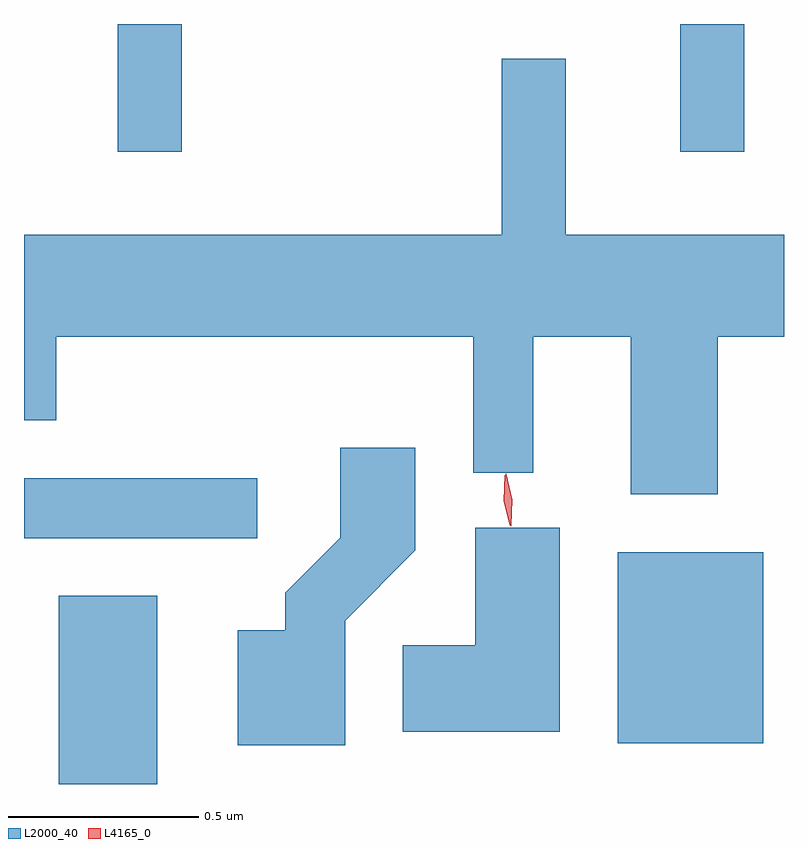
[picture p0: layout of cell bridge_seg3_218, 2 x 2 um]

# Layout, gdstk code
import gdstk
lib = gdstk.Library(unit=1e-6, precision=1e-09)
def R(c, l, rs):  # rectangles x0, y0, x1, y1
    for r in rs: c.add(gdstk.rectangle(r[:2], r[2:], *l))
def P(c, l, *ps):  # polygons
    for p in ps: c.add(gdstk.Polygon(p, *l))
L2000_40 = (2000, 40)
L4165_0 = (4165, 0)

bridge_seg3_218 = lib.new_cell('bridge_seg3_218')
R(bridge_seg3_218, L2000_40, [(955.296,1155.919,955.554,1156.414), (956.766,1156.026,957.149,1156.529), (955.204,1156.566,955.818,1156.724), (955.451,1157.583,955.619,1157.919), (956.931,1157.583,957.099,1157.919)])
P(bridge_seg3_218, L2000_40, [(957.029,1157.096),(957.204,1157.096),(957.204,1157.364),(956.629,1157.364),(956.629,1157.828),(956.461,1157.828),(956.461,1157.364),(955.204,1157.364),(955.204,1156.876),(955.289,1156.876),(955.289,1157.096),(956.386,1157.096),(956.386,1156.738),(956.544,1156.738),(956.544,1157.096),(956.801,1157.096),(956.801,1156.681),(957.029,1156.681)],
  [(956.049,1156.349),(956.234,1156.534),(956.234,1156.804),(956.036,1156.804),(956.036,1156.567),(955.891,1156.422),(955.891,1156.324),(955.766,1156.324),(955.766,1156.021),(956.049,1156.021)],
  [(956.614,1156.594),(956.391,1156.594),(956.391,1156.284),(956.201,1156.284),(956.201,1156.056),(956.614,1156.056)])
P(bridge_seg3_218, L4165_0, [(956.482,1156.6),(956.466,1156.664),(956.469,1156.731),(956.47,1156.732),(956.47,1156.731),(956.486,1156.666),(956.483,1156.6),(956.483,1156.6)],
  [(956.486,1156.597),(956.485,1156.598),(956.469,1156.665),(956.472,1156.735),(956.472,1156.735),(956.473,1156.735),(956.489,1156.667),(956.486,1156.598)])

lib.write_gds('bridge_seg3_218.gds')
